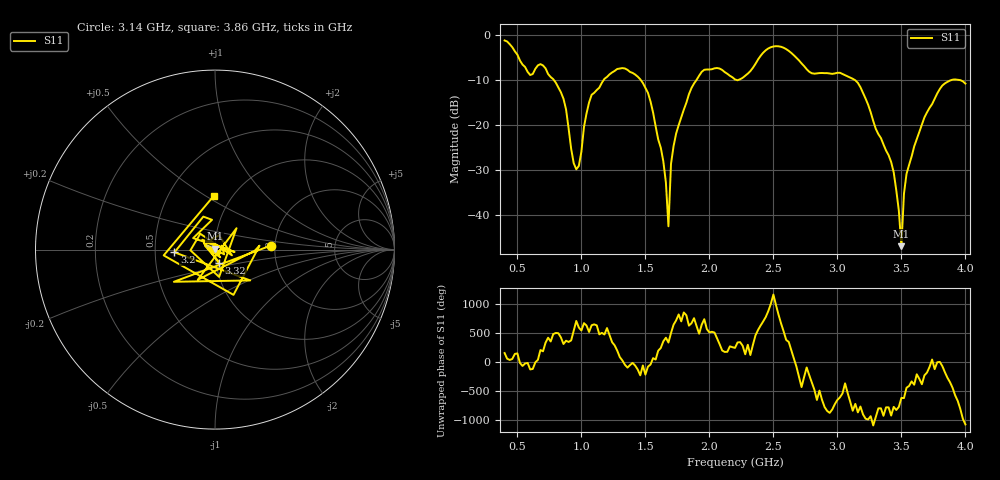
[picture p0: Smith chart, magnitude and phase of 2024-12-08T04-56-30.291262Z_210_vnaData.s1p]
!Created with skrf (http://scikit-rf.org).
# Hz S RI R 50.0
!freq ReS11 ImS11
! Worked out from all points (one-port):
!   181 points, 400 MHz to 4 GHz, reference 50 ohm
!   lowest |S11| = -47.0 dB at 3.5 GHz (marker M1), VSWR 1.01, Z = 49.9 + j0.426 ohm
!   |S11| at or under -10 dB: 782.8 MHz to 1.176 GHz (392.8 MHz wide, 40.1 % of centre); 1.462 GHz to 1.901 GHz (439 MHz wide, 26.1 % of centre); 3.132 GHz to 3.9 GHz (768 MHz wide, 21.8 % of centre) (the widest 3 of 5)
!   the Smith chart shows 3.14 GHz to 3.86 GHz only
!   S11 on the Smith chart (normalised r, x): 3.14 GHz: 1.90, +0.09; 3.2 GHz: 0.63, -0.02; 3.32 GHz: 1.03, -0.16; 3.86 GHz: 0.82, +0.54
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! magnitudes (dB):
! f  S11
! 400 MHz  -1.3
! 600 MHz  -9.0
! 700 MHz  -6.8
! 860 MHz  -14.2
! 960 MHz  -29.9
! 1.08 GHz  -13.4
! 1.3 GHz  -7.5
! 1.52 GHz  -12.9
! 1.64 GHz  -28.1
! 1.66 GHz  -32.8
! 1.68 GHz  -42.6
! 1.7 GHz  -28.7
! 1.76 GHz  -20.1
! 1.94 GHz  -8.3
! 2.2 GHz  -10.0
! 2.48 GHz  -2.8
! 2.66 GHz  -4.6
! 3.1 GHz  -9.6
! 3.14 GHz  -10.1
! 3.2 GHz  -12.9
! 3.32 GHz  -22.1
! 3.44 GHz  -30.6
! 3.5 GHz  -47.0
! 3.52 GHz  -35.4
! 3.56 GHz  -29.0
! 3.68 GHz  -18.4
! 3.86 GHz  -10.5
! 4 GHz  -10.9
